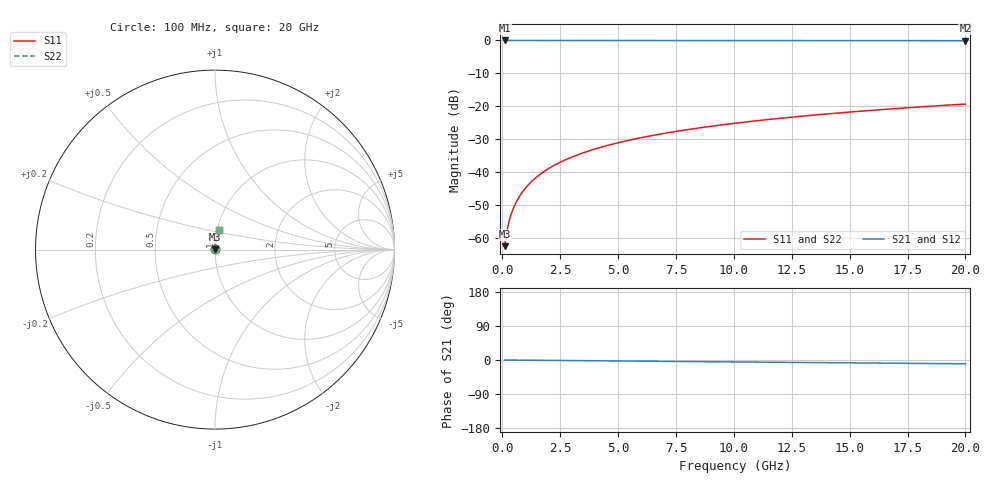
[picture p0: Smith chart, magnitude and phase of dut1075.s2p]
! Touchstone file exported from HFSS 2026.1.0
!  File:  C:/ffzhzh/LocalFiles/Ansys_Project_Files/temp_train_BSMRDL_1075_1783174350_22436.aedt
!  Generated:  10:13:44 PM Jul  4, 2026
!  Design:  BSMRDL
!  Project:  temp_train_BSMRDL_1075_1783174350_22436
! Variables:
!  h_bsmrdl = 5.29um
!  h_ox = 20um
!  h_rdl = 5um
!  h_sub = 80um
!  h_tmrdl = 5um
!  h_tsv = 80um
!  h_via = 3um
!  l_bsmrdl = 102.85um
!  l_sub = 502.85um
!  l_tmrdl = 200um
!  m_sub = 200um
!  pitch = 53.12um
!  r_tsv = 6um
!  s_tmrdl = 10um
!  w_bsmrdl = 22.04um
!  w_sub = 500um
!  w_tmrdl = 12um
!  x_tsv_center1 = 206um
!  x_tsv_center2 = 330.89um
!  x_tsv_center3 = 542.89um
!  x_tsv_center4 = 667.78um
!  x_tsv_center5 = 879.78um
!  x_tsv_center6 = 1004.67um
# GHz S MA R 50.000000
! Terminal data exported
! Port[1] = BSM_RDL1_1_T1
! Port[2] = BSM_RDL1_1_T2
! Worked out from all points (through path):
!   200 points, 100 MHz to 20 GHz, reference 50 ohm
!   highest |S21| = 0.00 dB at 100 MHz (marker M1); lowest = -0.1 dB at 20 GHz (marker M2)
!   group delay of S21, straight-line fit = 1.39 ps
!   lowest |S11| = -62.4 dB at 100 MHz (marker M3), VSWR 1.00, Z = 50 + j0.0609 ohm
!   |S11| at or under -10 dB: start of sweep to end of sweep
!   |S22| runs from -62.4 to -19.3 dB; largest |S21 - S12| = 3.6e-15
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0.1  0.0007623 52.9  0.9995 -0.1  0.9995 -0.1  0.0007623 52.9
! Gamma 0 0 0 0
! Port Impedance 50 0 50 0
0.2  0.001298 68.0  0.9995 -0.1  0.9995 -0.1  0.001298 68.0
0.3  0.001857 73.9  0.9995 -0.2  0.9995 -0.2  0.001857 73.9
0.4  0.002417 77.0  0.9995 -0.2  0.9995 -0.2  0.002417 77.0
0.5  0.002977 79.0  0.9994 -0.3  0.9994 -0.3  0.002977 79.0
0.7  0.004098 81.5  0.9994 -0.4  0.9994 -0.4  0.004098 81.5
0.8  0.004661 82.3  0.9994 -0.4  0.9994 -0.4  0.004661 82.3
1  0.005787 83.4  0.9994 -0.5  0.9994 -0.5  0.005787 83.4
1.2  0.006916 84.1  0.9993 -0.6  0.9993 -0.6  0.006916 84.1
1.4  0.008046 84.6  0.9993 -0.7  0.9993 -0.7  0.008046 84.6
1.7  0.00974 85.1  0.9993 -0.9  0.9993 -0.9  0.00974 85.1
2  0.01143 85.3  0.9992 -1.0  0.9992 -1.0  0.01143 85.3
2.7  0.01537 85.5  0.9991 -1.4  0.9991 -1.4  0.01537 85.5
3.5  0.01984 85.5  0.9989 -1.8  0.9989 -1.8  0.01984 85.5
4.2  0.02372 85.3  0.9987 -2.2  0.9987 -2.2  0.02372 85.3
5  0.02814 85.0  0.9984 -2.6  0.9984 -2.6  0.02814 85.0
6.8  0.03799 84.4  0.9979 -3.5  0.9979 -3.5  0.03799 84.4
8.3  0.04614 83.8  0.9973 -4.2  0.9973 -4.2  0.04614 83.8
10.1  0.05588 83.1  0.9967 -5.1  0.9967 -5.1  0.05588 83.1
13.4  0.07362 81.6  0.9952 -6.8  0.9952 -6.8  0.07362 81.6
16.7  0.09122 80.2  0.9935 -8.4  0.9935 -8.4  0.09122 80.2
20  0.1086 78.6  0.9915 -10.0  0.9915 -10.0  0.1086 78.6
